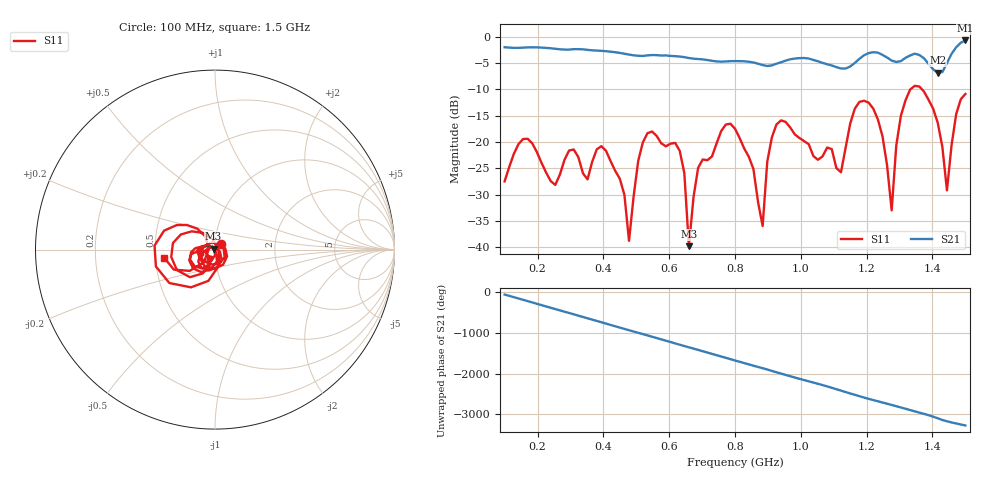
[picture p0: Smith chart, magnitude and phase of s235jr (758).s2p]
! NanoVNA-App
! Date: 2025-09-25 15:10:04
! Start: 100MHz Stop: 1,5GHz Points: 101
! S-Parameter data: F S11 S21 S12 S22
# Hz S RI R 50
!  Frequency  S11_Real  S11_Imag  S21_Real  S21_Imag  S12_Real  S12_Imag  S22_Real  S22_Imag
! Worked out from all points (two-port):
!   101 points, 100 MHz to 1.5 GHz, reference 50 ohm
!   highest |S21| = -0.68 dB at 1.5 GHz (marker M1); lowest = -6.8 dB at 1.416 GHz (marker M2)
!   |S21| within 3 dB of the highest: start of sweep to 620.6 MHz; 1.188 GHz to 1.255 GHz (67.07 MHz wide, 5.49 % of centre) (the widest 2 of 4)
!   lowest |S11| = -39.8 dB at 660 MHz (marker M3), VSWR 1.02, Z = 49.2 + j0.595 ohm
!   |S11| at or under -10 dB: start of sweep to 1.333 GHz; 1.368 GHz to end of sweep
!   S12 and S22 are empty: the file has one direction only
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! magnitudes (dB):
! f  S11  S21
! 100 MHz  -27.5  -2.0
! 156 MHz  -19.4  -2.0
! 338 MHz  -25.9  -2.4
! 408 MHz  -21.6  -2.7
! 478 MHz  -38.8  -3.4
! 520 MHz  -20.1  -3.6
! 576 MHz  -20.2  -3.5
! 632 MHz  -21.7  -3.7
! 660 MHz  -39.8  -4.0
! 688 MHz  -24.9  -4.2
! 800 MHz  -17.5  -4.6
! 884 MHz  -36.0  -5.4
! 926 MHz  -16.6  -5.1
! 1.038 GHz  -22.6  -4.4
! 1.122 GHz  -25.7  -6.0
! 1.206 GHz  -12.5  -3.1
! 1.276 GHz  -33.0  -4.5
! 1.29 GHz  -20.6  -4.8
! 1.332 GHz  -10.0  -3.5
! 1.416 GHz  -16.3  -6.8
! 1.444 GHz  -29.2  -5.0
! 1.5 GHz  -10.9  -0.7
